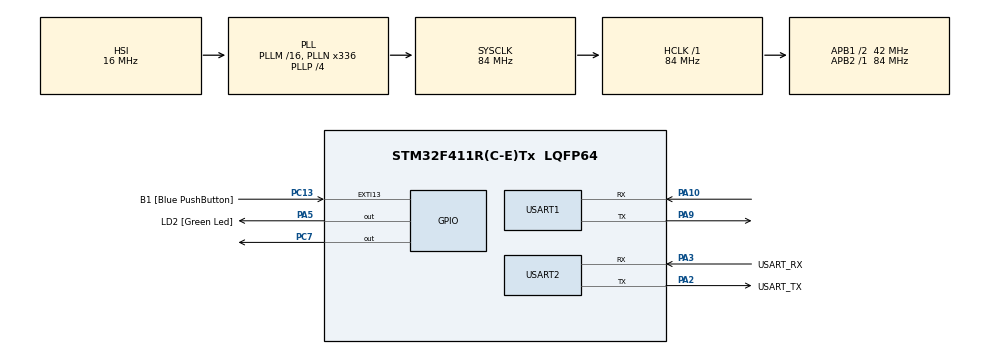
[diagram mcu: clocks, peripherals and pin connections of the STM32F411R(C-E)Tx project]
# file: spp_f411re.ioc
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Mcu.Family=STM32F4
Mcu.Name=STM32F411R(C-E)Tx
Mcu.Package=LQFP64
NVIC.PriorityGroup=NVIC_PRIORITYGROUP_0
NVIC.USART1_IRQn=true\:0\:0\:false\:false\:true\:true\:true\:true
NVIC.USART2_IRQn=true\:0\:0\:false\:false\:true\:true\:true\:true
PA10.Mode=Asynchronous
PA10.Signal=USART1_RX
PA13.GPIO_Label=TMS
PA13.Mode=Serial_Wire
PA13.Signal=SYS_JTMS-SWDIO
PA14.GPIO_Label=TCK
PA14.Mode=Serial_Wire
PA14.Signal=SYS_JTCK-SWCLK
PA2.GPIO_Label=USART_TX
PA2.Mode=Asynchronous
PA2.Signal=USART2_TX
PA3.GPIO_Label=USART_RX
PA3.Mode=Asynchronous
PA3.Signal=USART2_RX
PA5.GPIO_Label=LD2 [Green Led]
PA5.Signal=GPIO_Output
PA9.Mode=Asynchronous
PA9.Signal=USART1_TX
PB3.GPIO_Label=SWO
PB3.Signal=SYS_JTDO-SWO
PC13-ANTI_TAMP.GPIO_Label=B1 [Blue PushButton]
PC13-ANTI_TAMP.GPIO_ModeDefaultEXTI=GPIO_MODE_IT_FALLING
PC13-ANTI_TAMP.Signal=GPXTI13
PC14-OSC32_IN.Mode=LSE-External-Oscillator
PC14-OSC32_IN.Signal=RCC_OSC32_IN
PC15-OSC32_OUT.Mode=LSE-External-Oscillator
PC15-OSC32_OUT.Signal=RCC_OSC32_OUT
PC7.Signal=GPIO_Output
PH0\ -\ OSC_IN.Mode=HSE-External-Clock-Source
PH0\ -\ OSC_IN.Signal=RCC_OSC_IN
PH1\ -\ OSC_OUT.Mode=HSE-External-Clock-Source
PH1\ -\ OSC_OUT.Signal=RCC_OSC_OUT
ProjectManager.HeapSize=0x200
ProjectManager.StackSize=0x400
ProjectManager.TargetToolchain=STM32CubeIDE
RCC.48MHZClocksFreq_Value=84000000
RCC.AHBFreq_Value=84000000
RCC.APB1CLKDivider=RCC_HCLK_DIV2
RCC.APB1Freq_Value=42000000
RCC.APB1TimFreq_Value=84000000
RCC.APB2Freq_Value=84000000
RCC.APB2TimFreq_Value=84000000
RCC.CortexFreq_Value=84000000
RCC.FLatency-AdvancedSettings=FLASH_LATENCY_2
RCC.HCLKFreq_Value=84000000
RCC.HSE_VALUE=8000000
RCC.HSI_VALUE=16000000
RCC.PLLN=336
RCC.PLLP=RCC_PLLP_DIV4
RCC.SYSCLKFreq_VALUE=84000000
RCC.SYSCLKSource=RCC_SYSCLKSOURCE_PLLCLK
RCC.VCOOutputFreq_Value=336000000
USART1.VirtualMode=VM_ASYNC
USART2.VirtualMode=VM_ASYNC
board=NUCLEO-F411RE

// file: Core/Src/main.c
/* USER CODE BEGIN Header */
/**
 ******************************************************************************
 * @file           : main.c
 * @brief          : Main program body
 ******************************************************************************
 * @attention
 *
 * Copyright (c) 2025 STMicroelectronics.
 * All rights reserved.
 *
 * This software is licensed under terms that can be found in the LICENSE file
 * in the root directory of this software component.
 * If no LICENSE file comes with this software, it is provided AS-IS.
 *
 ******************************************************************************
 */
/* USER CODE END Header */
#include "main.h"

/* USER CODE BEGIN Includes */
#include <stdio.h>
#include "sl_boltON.h"
#include "sl_ring_buffer.h"
/* USER CODE END Includes */

/* USER CODE BEGIN PM */

// LED on the STM kit
#define LED_PORT  GPIOA
#define LED_PIN   GPIO_PIN_5

// LED on the boltON
#define BOLTON_LED_PORT  GPIOC
#define BOLTON_LED_PIN   GPIO_PIN_7

/* USER CODE END PM */

UART_HandleTypeDef huart1;
UART_HandleTypeDef huart2;

void SystemClock_Config(void);
static void MX_GPIO_Init(void);
static void MX_USART2_UART_Init(void);
static void MX_USART1_UART_Init(void);
/* USER CODE BEGIN PFP */

void sl_bt_on_event(sl_bt_msg_t *evt);
static void ble_initialize_gatt_db();
uint8_t advertising_set_handle = SL_BT_INVALID_ADVERTISING_SET_HANDLE;

uint8_t usart2_rx_byte;
sl_ring_buffer uart2_rx_buf = { 0 };

typedef enum {
  STATE_DISCONNECTED = 0,
  STATE_ADVERTISING,
  STATE_CONNECTED,
  STATE_SPP_MODE
} spp_state_t;
spp_state_t spp_main_state = STATE_DISCONNECTED;

uint16_t spp_local_gatt_service_handle = 0u;
uint16_t spp_local_data_gatt_characteristic_handle = 0u;
uint8_t spp_connection_handle = SL_BT_INVALID_CONNECTION_HANDLE;
const uint8_t spp_default_max_packet_size = 20u;
uint8_t spp_max_packet_size = spp_default_max_packet_size;

// Bookkeeping struct for storing amount of sent/received data
typedef struct {
  uint32_t num_pack_sent;
  uint32_t num_bytes_sent;
  uint32_t num_pack_received;
  uint32_t num_bytes_received;
} spp_ts_counters;
spp_ts_counters spp_connection_stat_counter = {};

static void spp_write(uint8_t* data, size_t size);
static void spp_print_stats(spp_ts_counters *p_counters);
static void spp_reset_state();

// SPP GATT service UUID: 4880c12c-fdcb-4077-8920-a450d7f9b907
const uuid_128 spp_service_uuid = {
  .data = { 0x07, 0xb9, 0xf9, 0xd7, 0x50, 0xa4, 0x20, 0x89, 0x77, 0x40, 0xcb, 0xfd, 0x2c, 0xc1, 0x80, 0x48 }
};

// SPP data GATT characteristic UUID: fec26ec4-6d71-4442-9f81-55bc21d658d6
const uuid_128 spp_data_characteristic_uuid = {
  .data = { 0xd6, 0x58, 0xd6, 0x21, 0xbc, 0x55, 0x81, 0x9f, 0x42, 0x44, 0x71, 0x6d, 0xc4, 0x6e, 0xc2, 0xfe }
};

/* USER CODE END PFP */

int main(void)
{

  /* MCU Configuration--------------------------------------------------------*/

  /* Reset of all peripherals, Initializes the Flash interface and the Systick. */
  HAL_Init();

  /* Configure the system clock */
  SystemClock_Config();

  /* Initialize all configured peripherals */
  MX_GPIO_Init();
  MX_USART2_UART_Init();
  MX_USART1_UART_Init();
  /* USER CODE BEGIN 2 */
  printf("boltON by Silicon Labs - BLE Serial Port Profile\n");
  printf("Initializing BLE...\n");
  bool res = sl_bolton_init();
  assert(res);
  // Initialize UART reception for the USB serial
  HAL_UART_Receive_IT(&huart2, &usart2_rx_byte, 1);

  /* USER CODE END 2 */

  /* Infinite loop */
  while (1) {

    /* USER CODE BEGIN 3 */
    sl_bolton_process();

    // Handle BLE transmission of the data received from UART
    uint8_t data;
    static uint8_t data_buf[256];
    static uint16_t data_buf_idx = 0u;
    while (sl_ringbuffer_read(&uart2_rx_buf, &data)) {
      // Buffer the received data
      data_buf[data_buf_idx] = data;
      data_buf_idx++;
      // If it's the end of a line - or we reach the max allowed packet size - or we would overrun our buffer - send the data out
      if (data == '\n' || data_buf_idx >= spp_max_packet_size || data_buf_idx >= sizeof(data_buf)) {
        spp_write(data_buf, data_buf_idx);
        data_buf_idx = 0u;
      }
    }
  }
  /* USER CODE END 3 */
}

void SystemClock_Config(void)
{
  RCC_OscInitTypeDef RCC_OscInitStruct = { 0 };
  RCC_ClkInitTypeDef RCC_ClkInitStruct = { 0 };

  /** Configure the main internal regulator output voltage
   */
  __HAL_RCC_PWR_CLK_ENABLE();
  __HAL_PWR_VOLTAGESCALING_CONFIG(PWR_REGULATOR_VOLTAGE_SCALE1);

  /** Initializes the RCC Oscillators according to the specified parameters
   * in the RCC_OscInitTypeDef structure.
   */
  RCC_OscInitStruct.OscillatorType = RCC_OSCILLATORTYPE_HSI;
  RCC_OscInitStruct.HSIState = RCC_HSI_ON;
  RCC_OscInitStruct.HSICalibrationValue = RCC_HSICALIBRATION_DEFAULT;
  RCC_OscInitStruct.PLL.PLLState = RCC_PLL_ON;
  RCC_OscInitStruct.PLL.PLLSource = RCC_PLLSOURCE_HSI;
  RCC_OscInitStruct.PLL.PLLM = 16;
  RCC_OscInitStruct.PLL.PLLN = 336;
  RCC_OscInitStruct.PLL.PLLP = RCC_PLLP_DIV4;
  RCC_OscInitStruct.PLL.PLLQ = 4;
  if (HAL_RCC_OscConfig(&RCC_OscInitStruct) != HAL_OK) {
    Error_Handler();
  }

  /** Initializes the CPU, AHB and APB buses clocks
   */
  RCC_ClkInitStruct.ClockType = RCC_CLOCKTYPE_HCLK | RCC_CLOCKTYPE_SYSCLK
                                | RCC_CLOCKTYPE_PCLK1 | RCC_CLOCKTYPE_PCLK2;
  RCC_ClkInitStruct.SYSCLKSource = RCC_SYSCLKSOURCE_PLLCLK;
  RCC_ClkInitStruct.AHBCLKDivider = RCC_SYSCLK_DIV1;
  RCC_ClkInitStruct.APB1CLKDivider = RCC_HCLK_DIV2;
  RCC_ClkInitStruct.APB2CLKDivider = RCC_HCLK_DIV1;

  if (HAL_RCC_ClockConfig(&RCC_ClkInitStruct, FLASH_LATENCY_2) != HAL_OK) {
    Error_Handler();
  }
}

static void MX_USART1_UART_Init(void)
{

  huart1.Instance = USART1;
  huart1.Init.BaudRate = 115200;
  huart1.Init.WordLength = UART_WORDLENGTH_8B;
  huart1.Init.StopBits = UART_STOPBITS_1;
  huart1.Init.Parity = UART_PARITY_NONE;
  huart1.Init.Mode = UART_MODE_TX_RX;
  huart1.Init.HwFlowCtl = UART_HWCONTROL_NONE;
  huart1.Init.OverSampling = UART_OVERSAMPLING_16;
  if (HAL_UART_Init(&huart1) != HAL_OK) {
    Error_Handler();
  }
}

static void MX_USART2_UART_Init(void)
{

  huart2.Instance = USART2;
  huart2.Init.BaudRate = 115200;
  huart2.Init.WordLength = UART_WORDLENGTH_8B;
  huart2.Init.StopBits = UART_STOPBITS_1;
  huart2.Init.Parity = UART_PARITY_NONE;
  huart2.Init.Mode = UART_MODE_TX_RX;
  huart2.Init.HwFlowCtl = UART_HWCONTROL_NONE;
  huart2.Init.OverSampling = UART_OVERSAMPLING_16;
  if (HAL_UART_Init(&huart2) != HAL_OK) {
    Error_Handler();
  }
}

static void MX_GPIO_Init(void)
{
  GPIO_InitTypeDef GPIO_InitStruct = { 0 };

  /* GPIO Ports Clock Enable */
  __HAL_RCC_GPIOC_CLK_ENABLE();
  __HAL_RCC_GPIOH_CLK_ENABLE();
  __HAL_RCC_GPIOA_CLK_ENABLE();
  __HAL_RCC_GPIOB_CLK_ENABLE();

  /*Configure GPIO pin Output Level */
  HAL_GPIO_WritePin(LD2_GPIO_Port, LD2_Pin, GPIO_PIN_RESET);

  /*Configure GPIO pin Output Level */
  HAL_GPIO_WritePin(GPIOC, GPIO_PIN_7, GPIO_PIN_RESET);

  /*Configure GPIO pin : B1_Pin */
  GPIO_InitStruct.Pin = B1_Pin;
  GPIO_InitStruct.Mode = GPIO_MODE_IT_FALLING;
  GPIO_InitStruct.Pull = GPIO_NOPULL;
  HAL_GPIO_Init(B1_GPIO_Port, &GPIO_InitStruct);

  /*Configure GPIO pin : LD2_Pin */
  GPIO_InitStruct.Pin = LD2_Pin;
  GPIO_InitStruct.Mode = GPIO_MODE_OUTPUT_PP;
  GPIO_InitStruct.Pull = GPIO_NOPULL;
  GPIO_InitStruct.Speed = GPIO_SPEED_FREQ_LOW;
  HAL_GPIO_Init(LD2_GPIO_Port, &GPIO_InitStruct);

  /*Configure GPIO pin : PC7 */
  GPIO_InitStruct.Pin = GPIO_PIN_7;
  GPIO_InitStruct.Mode = GPIO_MODE_OUTPUT_PP;
  GPIO_InitStruct.Pull = GPIO_NOPULL;
  GPIO_InitStruct.Speed = GPIO_SPEED_FREQ_LOW;
  HAL_GPIO_Init(GPIOC, &GPIO_InitStruct);

}

/* USER CODE BEGIN 4 */

// UART ISR handler
void HAL_UART_RxCpltCallback(UART_HandleTypeDef *huart)
{
  if (huart->Instance == BOLTON_UART_INSATNCE) {
    sl_bolton_buffer_received_data(1, &bolton_usart_rx_byte);
    HAL_UART_Receive_IT(&BOLTON_UART_HANDLE, &bolton_usart_rx_byte, 1);
  }
  if (huart->Instance == USART2) {
    sl_ringbuffer_write(&uart2_rx_buf, usart2_rx_byte);
    HAL_UART_Receive_IT(&huart2, &usart2_rx_byte, 1);
  }
}

// printf
int _write(int file, char *data, int len)
{
  HAL_UART_Transmit(&huart2, (uint8_t*)data, len, HAL_MAX_DELAY);
  return len;
}

static void spp_write(uint8_t* data, size_t size)
{
  if (spp_main_state != STATE_SPP_MODE) {
    printf("Write error - SPP not connected\r\n");
    return;
  }
  sl_status_t sc = sl_bt_gatt_server_send_notification(spp_connection_handle,
                                                       spp_local_data_gatt_characteristic_handle,
                                                       size,
                                                       data);
  if (sc == SL_STATUS_OK) {
    spp_connection_stat_counter.num_pack_sent++;
    spp_connection_stat_counter.num_bytes_sent += size;
  }
}

static void spp_reset_state()
{
  spp_connection_handle = SL_BT_INVALID_CONNECTION_HANDLE;
  spp_main_state = STATE_ADVERTISING;
  spp_max_packet_size = spp_default_max_packet_size;
  memset(&spp_connection_stat_counter, 0u, sizeof(spp_ts_counters));
}

static void spp_print_stats(spp_ts_counters *p_counters)
{
  printf("Bytes sent: %lu (%lu packets)\r\n",
         p_counters->num_bytes_sent,
         p_counters->num_pack_sent);
  printf("Bytes received: %lu (%lu packets)\r\n",
         p_counters->num_bytes_received,
         p_counters->num_pack_received);
}

/**************************************************************************//**
 * Bluetooth stack event handler
 * This overrides the default weak implementation
 *
 * @param[in] evt Event coming from the Bluetooth stack
 *****************************************************************************/
void sl_bt_on_event(sl_bt_msg_t *evt)
{
  sl_status_t sc;
  bd_addr address;
  uint8_t address_type;
  uint8_t system_id[8];

  switch (SL_BT_MSG_ID(evt->header)) {
    // -------------------------------
    // This event indicates the device has started and the radio is ready.
    // Do not call any stack command before receiving this boot event!
    case sl_bt_evt_system_boot_id:
      printf("BLE stack booted\n");
      ble_initialize_gatt_db();

      // Extract unique ID from BT Address
      sc = sl_bt_gap_get_identity_address(&address, &address_type);
      assert(sc == SL_STATUS_OK);

      // Pad and reverse unique ID to get System ID
      system_id[0] = address.addr[5];
      system_id[1] = address.addr[4];
      system_id[2] = address.addr[3];
      system_id[3] = address.addr[2];
      system_id[4] = address.addr[1];
      system_id[5] = address.addr[0];
      (void)system_id;
      printf("System identity address: %02x:%02x:%02x:%02x:%02x:%02x\n",
             system_id[0],
             system_id[1],
             system_id[2],
             system_id[3],
             system_id[4],
             system_id[5]);

      // Create an advertising set
      sc = sl_bt_advertiser_create_set(&advertising_set_handle);
      assert(sc == SL_STATUS_OK);

      // Generate data for advertising
      sc = sl_bt_legacy_advertiser_generate_data(advertising_set_handle,
                                                 sl_bt_advertiser_general_discoverable);
      assert(sc == SL_STATUS_OK);

      // Set advertising interval to 100ms
      sc = sl_bt_advertiser_set_timing(
        advertising_set_handle,
        160, // min. adv. interval (milliseconds * 1.6)
        160, // max. adv. interval (milliseconds * 1.6)
        0,   // adv. duration
        0);  // max. num. adv. events
      assert(sc == SL_STATUS_OK);
      // Start advertising and enable connections
      sc = sl_bt_legacy_advertiser_start(advertising_set_handle,
                                         sl_bt_legacy_advertiser_connectable);
      assert(sc == SL_STATUS_OK);
      printf("Started advertising...\n");
      printf("Go to 'https://siliconlabssoftware.github.io/web-bluetooth-spp-application/' to connect your computer\n");
      break;

    // -------------------------------
    // This event indicates that a new connection was opened
    case sl_bt_evt_connection_opened_id:
      printf("Connection opened\n");
      spp_main_state = STATE_CONNECTED;
      spp_connection_handle = evt->data.evt_connection_opened.connection;
      break;

    // -------------------------------
    // This event indicates that a connection was closed
    case sl_bt_evt_connection_closed_id:
      printf("---------------------------\r\n");
      printf("Connection closed\n");
      spp_print_stats(&spp_connection_stat_counter);
      spp_reset_state();
      HAL_GPIO_WritePin(LED_PORT, LED_PIN, GPIO_PIN_RESET);
      HAL_GPIO_WritePin(BOLTON_LED_PORT, BOLTON_LED_PIN, GPIO_PIN_RESET);
      // Generate data for advertising
      sc = sl_bt_legacy_advertiser_generate_data(advertising_set_handle,
                                                 sl_bt_advertiser_general_discoverable);
      assert(sc == SL_STATUS_OK);

      // Restart advertising after the client has disconnected
      sc = sl_bt_legacy_advertiser_start(advertising_set_handle,
                                         sl_bt_legacy_advertiser_connectable);
      assert(sc == SL_STATUS_OK);
      printf("Restarted advertising...\n");
      break;

    case sl_bt_evt_gatt_mtu_exchanged_id:
      // Calculate maximum data per one notification / write-without-response,
      // this depends on the MTU. Up to ATT_MTU-3 bytes can be sent at once.
      spp_max_packet_size = evt->data.evt_gatt_mtu_exchanged.mtu - 3;
      printf("MTU exchanged, max packet size set to: %d bytes\r\n", evt->data.evt_gatt_mtu_exchanged.mtu);
      break;

    case sl_bt_evt_gatt_server_characteristic_status_id:
    {
      sl_bt_evt_gatt_server_characteristic_status_t char_status;
      char_status = evt->data.evt_gatt_server_characteristic_status;
      if (char_status.characteristic == spp_local_data_gatt_characteristic_handle) {
        if (char_status.status_flags == sl_bt_gatt_server_client_config) {
          // Characteristic client configuration (CCC) for spp_data has been changed
          if (char_status.client_config_flags == sl_bt_gatt_server_notification) {
            spp_main_state = STATE_SPP_MODE;
            printf("Ready for SPP communication\r\n");
            printf("---------------------------\r\n");
            HAL_GPIO_WritePin(LED_PORT, LED_PIN, GPIO_PIN_SET);
            HAL_GPIO_WritePin(BOLTON_LED_PORT, BOLTON_LED_PIN, GPIO_PIN_SET);
          } else {
            printf("SPP communication stopped\r\n");
            spp_main_state = STATE_CONNECTED;
            HAL_GPIO_WritePin(LED_PORT, LED_PIN, GPIO_PIN_RESET);
            HAL_GPIO_WritePin(BOLTON_LED_PORT, BOLTON_LED_PIN, GPIO_PIN_RESET);
          }
        }
      }
    }
    break;

    case sl_bt_evt_gatt_server_attribute_value_id:
    {
      if (evt->data.evt_gatt_server_attribute_value.value.len != 0u) {
        for (uint8_t i = 0u; i < evt->data.evt_gatt_server_attribute_value.value.len; i++) {
          uint8_t received_char = evt->data.evt_gatt_server_attribute_value.value.data[i];
          printf("%c", received_char);
        }
        spp_connection_stat_counter.num_pack_received++;
        spp_connection_stat_counter.num_bytes_received += evt->data.evt_gatt_server_attribute_value.value.len;
      }
    }
    break;

    // -------------------------------
    // Default event handler
    default:
      printf("BLE event: 0x%lx\n", SL_BT_MSG_ID(evt->header));
      break;
  }
  (void)sc;
}

static const uint8_t advertised_name[] = "SPP Example";
static uint16_t gattdb_session_id;
static uint16_t service_handle;
static uint16_t characteristic_handle;

static void ble_initialize_gatt_db()
{
  sl_status_t sc;
  (void)sc;
  // Create a new GATT database
  sc = sl_bt_gattdb_new_session(&gattdb_session_id);
  assert(sc == SL_STATUS_OK);

  // Add the Generic Access service to the GATT DB
  const uint8_t generic_access_service_uuid[] = { 0x00, 0x18 };
  sc = sl_bt_gattdb_add_service(gattdb_session_id,
                                sl_bt_gattdb_primary_service,
                                SL_BT_GATTDB_ADVERTISED_SERVICE,
                                sizeof(generic_access_service_uuid),
                                generic_access_service_uuid,
                                &service_handle);
  assert(sc == SL_STATUS_OK);

  // Add the Device Name characteristic to the Generic Access service
  // The value of the Device Name characteristic will be advertised
  const sl_bt_uuid_16_t device_name_characteristic_uuid = { .data = { 0x00, 0x2A } };
  sc = sl_bt_gattdb_add_uuid16_characteristic(gattdb_session_id,
                                              service_handle,
                                              SL_BT_GATTDB_CHARACTERISTIC_READ,
                                              0x00,
                                              0x00,
                                              device_name_characteristic_uuid,
                                              sl_bt_gattdb_fixed_length_value,
                                              sizeof(advertised_name) - 1,
                                              sizeof(advertised_name) - 1,
                                              advertised_name,
                                              &characteristic_handle);
  assert(sc == SL_STATUS_OK);

  // Start the Generic Access service
  sc = sl_bt_gattdb_start_service(gattdb_session_id, service_handle);
  assert(sc == SL_STATUS_OK);

  // Add the SPP service to the GATT DB
  sc = sl_bt_gattdb_add_service(gattdb_session_id,
                                sl_bt_gattdb_primary_service,
                                SL_BT_GATTDB_ADVERTISED_SERVICE,
                                sizeof(spp_service_uuid),
                                spp_service_uuid.data,
                                &spp_local_gatt_service_handle);
  assert(sc == SL_STATUS_OK);

  // Add the 'SPP data' characteristic to the SPP service
  uint8_t spp_data_char_init_value = 0;
  sc = sl_bt_gattdb_add_uuid128_characteristic(gattdb_session_id,
                                               spp_local_gatt_service_handle,
                                               SL_BT_GATTDB_CHARACTERISTIC_WRITE_NO_RESPONSE | SL_BT_GATTDB_CHARACTERISTIC_NOTIFY,
                                               0x00,
                                               0x00,
                                               spp_data_characteristic_uuid,
                                               sl_bt_gattdb_fixed_length_value,
                                               250,                                  // max length
                                               sizeof(spp_data_char_init_value),     // initial value length
                                               &spp_data_char_init_value,            // initial value
                                               &spp_local_data_gatt_characteristic_handle);
  assert(sc == SL_STATUS_OK);

  // Start the SPP service
  sc = sl_bt_gattdb_start_service(gattdb_session_id, spp_local_gatt_service_handle);
  assert(sc == SL_STATUS_OK);

  // Commit the GATT DB changes
  sc = sl_bt_gattdb_commit(gattdb_session_id);
  assert(sc == SL_STATUS_OK);
}

/* USER CODE END 4 */

void Error_Handler(void)
{
  __disable_irq();
  while (1) {
  }
}
